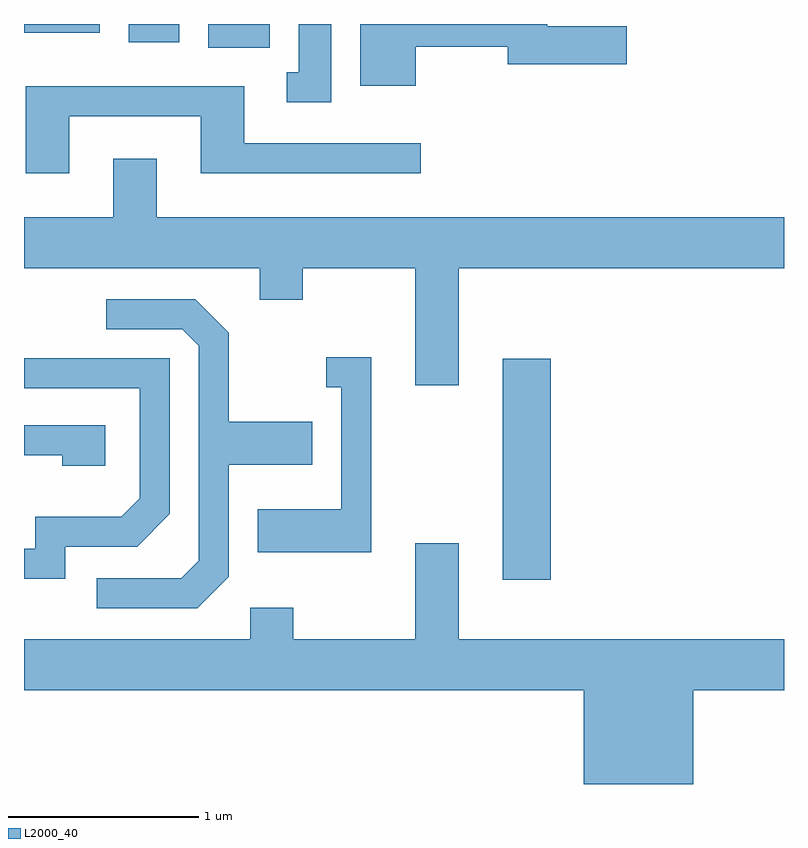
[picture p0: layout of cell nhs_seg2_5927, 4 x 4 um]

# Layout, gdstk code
import gdstk
lib = gdstk.Library(unit=1e-6, precision=1e-09)
def R(c, l, rs):  # rectangles x0, y0, x1, y1
    for r in rs: c.add(gdstk.rectangle(r[:2], r[2:], *l))
def P(c, l, *ps):  # polygons
    for p in ps: c.add(gdstk.Polygon(p, *l))
L2000_40 = (2000, 40)

nhs_seg2_5927 = lib.new_cell('nhs_seg2_5927')
R(nhs_seg2_5927, L2000_40, [(362.131,1068.876,362.384,1070.039), (360.581,1071.676,360.904,1071.802), (360.161,1071.706,360.429,1071.802), (359.611,1071.756,360.009,1071.802)])
P(nhs_seg2_5927, L2000_40, [(361.674,1071.681),(362.156,1071.681),(362.156,1071.591),(362.784,1071.591),(362.784,1071.789),(362.364,1071.789),(362.364,1071.802),(361.381,1071.802),(361.381,1071.476),(361.674,1071.476)],
  [(361.229,1071.802),(361.056,1071.802),(361.056,1071.549),(360.993,1071.549),(360.993,1071.391),(361.229,1071.391)],
  [(359.849,1071.316),(360.541,1071.316),(360.541,1071.016),(361.698,1071.016),(361.698,1071.174),(360.769,1071.174),(360.769,1071.474),(359.621,1071.474),(359.621,1071.016),(359.849,1071.016)],
  [(361.899,1070.516),(363.611,1070.516),(363.611,1070.784),(360.309,1070.784),(360.309,1071.094),(360.081,1071.094),(360.081,1070.784),(359.611,1070.784),(359.611,1070.516),(360.851,1070.516),(360.851,1070.351),(361.079,1070.351),(361.079,1070.516),(361.671,1070.516),(361.671,1069.901),(361.899,1069.901)],
  [(360.689,1068.894),(360.689,1069.481),(361.129,1069.481),(361.129,1069.709),(360.689,1069.709),(360.689,1070.177),(360.512,1070.354),(360.043,1070.354),(360.043,1070.196),(360.444,1070.196),(360.531,1070.109),(360.531,1068.977),(360.439,1068.884),(359.993,1068.884),(359.993,1068.726),(360.522,1068.726)],
  [(361.439,1070.049),(361.203,1070.049),(361.203,1069.891),(361.281,1069.891),(361.281,1069.249),(360.841,1069.249),(360.841,1069.021),(361.439,1069.021)],
  [(359.829,1069.051),(360.207,1069.051),(360.379,1069.224),(360.379,1070.044),(359.611,1070.044),(359.611,1069.886),(360.221,1069.886),(360.221,1069.307),(360.124,1069.209),(359.671,1069.209),(359.671,1069.039),(359.611,1069.039),(359.611,1068.881),(359.829,1068.881)],
  [(360.039,1069.689),(359.611,1069.689),(359.611,1069.531),(359.811,1069.531),(359.811,1069.476),(360.039,1069.476)],
  [(363.134,1068.296),(363.611,1068.296),(363.611,1068.564),(361.899,1068.564),(361.899,1069.069),(361.671,1069.069),(361.671,1068.564),(361.029,1068.564),(361.029,1068.729),(360.801,1068.729),(360.801,1068.564),(359.611,1068.564),(359.611,1068.296),(362.556,1068.296),(362.556,1067.802),(363.134,1067.802)])

lib.write_gds('nhs_seg2_5927.gds')
